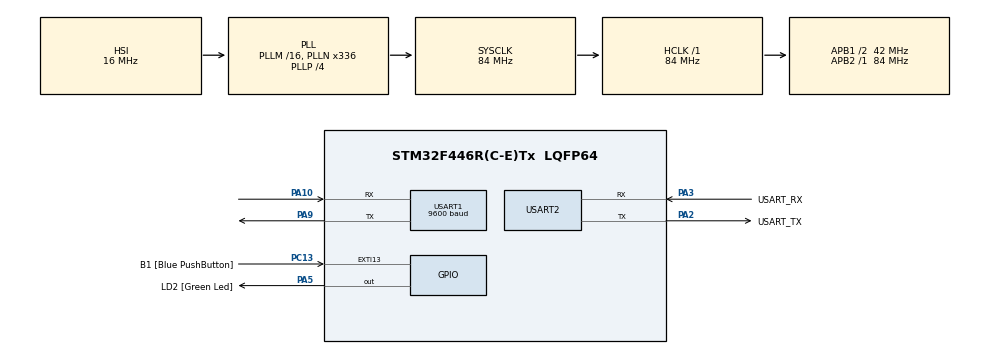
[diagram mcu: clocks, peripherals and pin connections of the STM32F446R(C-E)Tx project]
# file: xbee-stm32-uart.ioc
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Mcu.Family=STM32F4
Mcu.Name=STM32F446R(C-E)Tx
Mcu.Package=LQFP64
NVIC.PriorityGroup=NVIC_PRIORITYGROUP_0
PA10.Mode=Asynchronous
PA10.Signal=USART1_RX
PA13.GPIO_Label=TMS
PA13.Mode=Serial_Wire
PA13.Signal=SYS_JTMS-SWDIO
PA14.GPIO_Label=TCK
PA14.Mode=Serial_Wire
PA14.Signal=SYS_JTCK-SWCLK
PA2.GPIO_Label=USART_TX
PA2.Mode=Asynchronous
PA2.Signal=USART2_TX
PA3.GPIO_Label=USART_RX
PA3.Mode=Asynchronous
PA3.Signal=USART2_RX
PA5.GPIO_Label=LD2 [Green Led]
PA5.Signal=GPIO_Output
PA9.Mode=Asynchronous
PA9.Signal=USART1_TX
PB3.GPIO_Label=SWO
PB3.Signal=SYS_JTDO-SWO
PC13.GPIO_Label=B1 [Blue PushButton]
PC13.GPIO_ModeDefaultEXTI=GPIO_MODE_IT_FALLING
PC13.Signal=GPXTI13
PC14-OSC32_IN.Mode=LSE-External-Oscillator
PC14-OSC32_IN.Signal=RCC_OSC32_IN
PC15-OSC32_OUT.Mode=LSE-External-Oscillator
PC15-OSC32_OUT.Signal=RCC_OSC32_OUT
PH0-OSC_IN.Mode=HSE-External-Oscillator
PH0-OSC_IN.Signal=RCC_OSC_IN
PH1-OSC_OUT.Mode=HSE-External-Oscillator
PH1-OSC_OUT.Signal=RCC_OSC_OUT
ProjectManager.HeapSize=0x200
ProjectManager.StackSize=0x400
ProjectManager.TargetToolchain=STM32CubeIDE
RCC.48MHZClocksFreq_Value=84000000
RCC.AHBFreq_Value=84000000
RCC.APB1CLKDivider=RCC_HCLK_DIV2
RCC.APB1Freq_Value=42000000
RCC.APB1TimFreq_Value=84000000
RCC.APB2Freq_Value=84000000
RCC.APB2TimFreq_Value=84000000
RCC.CortexFreq_Value=84000000
RCC.FLatency-AdvancedSettings=FLASH_LATENCY_2
RCC.HCLKFreq_Value=84000000
RCC.HSE_VALUE=8000000
RCC.HSI_VALUE=16000000
RCC.PLLN=336
RCC.PLLP=RCC_PLLP_DIV4
RCC.SYSCLKFreq_VALUE=84000000
RCC.SYSCLKSource=RCC_SYSCLKSOURCE_PLLCLK
RCC.USBFreq_Value=168000000
RCC.VCOOutputFreq_Value=336000000
USART1.BaudRate=9600
USART1.VirtualMode=VM_ASYNC
USART2.VirtualMode=VM_ASYNC
board=NUCLEO-F446RE

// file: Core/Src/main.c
/* USER CODE BEGIN Header */
/**
  ******************************************************************************
  * @file           : main.c
  * @brief          : Main program body
  ******************************************************************************
  * @attention
  *
  * Copyright (c) 2023 STMicroelectronics.
  * All rights reserved.
  *
  * This software is licensed under terms that can be found in the LICENSE file
  * in the root directory of this software component.
  * If no LICENSE file comes with this software, it is provided AS-IS.
  *
  ******************************************************************************
  */
/* USER CODE END Header */
#include "main.h"

/* USER CODE BEGIN Includes */
#include "stdio.h"
#include "stdlib.h"
#include "string.h"
#include "stdint.h"

/* USER CODE END Includes */

UART_HandleTypeDef huart1;
UART_HandleTypeDef huart2;

void SystemClock_Config(void);
static void MX_GPIO_Init(void);
static void MX_USART2_UART_Init(void);
static void MX_USART1_UART_Init(void);

int main(void)
{

  /* MCU Configuration--------------------------------------------------------*/

  /* Reset of all peripherals, Initializes the Flash interface and the Systick. */
  HAL_Init();

  /* Configure the system clock */
  SystemClock_Config();

  /* Initialize all configured peripherals */
  MX_GPIO_Init();
  MX_USART2_UART_Init();
  MX_USART1_UART_Init();

  /* Infinite loop */
  while (1)
  {

    /* USER CODE BEGIN 3 */

	  for (int i = 0; i <= 10; i++) {
		  char out[20] = "Hello, FEB!";

		  char str[4];
		  sprintf(str, "%d", i);

		  strcat(out, str);
		  strcat(out, "\n");

		  char data[50] = "Hello, FEB!\n";
	//	  HAL_UART_Transmit(&huart1, data, sizeof(data), 10);
		  HAL_UART_Transmit(&huart1, (uint8_t *) out, sizeof(out), 100);
		  HAL_Delay(1000);
		  char send1[3] = "+++";
		  HAL_UART_Transmit(&huart1, (uint8_t *) send1, sizeof(send1), 100);
		  HAL_Delay(1000);
		  char send2[17] = "ATGT,CC,GT,CN<CR>";
		  HAL_UART_Transmit(&huart1, (uint8_t *) send2, sizeof(send2), 100);
		  HAL_Delay(1000);
	  }
  }
  /* USER CODE END 3 */
}

void SystemClock_Config(void)
{
  RCC_OscInitTypeDef RCC_OscInitStruct = {0};
  RCC_ClkInitTypeDef RCC_ClkInitStruct = {0};

  /** Configure the main internal regulator output voltage
  */
  __HAL_RCC_PWR_CLK_ENABLE();
  __HAL_PWR_VOLTAGESCALING_CONFIG(PWR_REGULATOR_VOLTAGE_SCALE3);

  /** Initializes the RCC Oscillators according to the specified parameters
  * in the RCC_OscInitTypeDef structure.
  */
  RCC_OscInitStruct.OscillatorType = RCC_OSCILLATORTYPE_HSI;
  RCC_OscInitStruct.HSIState = RCC_HSI_ON;
  RCC_OscInitStruct.HSICalibrationValue = RCC_HSICALIBRATION_DEFAULT;
  RCC_OscInitStruct.PLL.PLLState = RCC_PLL_ON;
  RCC_OscInitStruct.PLL.PLLSource = RCC_PLLSOURCE_HSI;
  RCC_OscInitStruct.PLL.PLLM = 16;
  RCC_OscInitStruct.PLL.PLLN = 336;
  RCC_OscInitStruct.PLL.PLLP = RCC_PLLP_DIV4;
  RCC_OscInitStruct.PLL.PLLQ = 2;
  RCC_OscInitStruct.PLL.PLLR = 2;
  if (HAL_RCC_OscConfig(&RCC_OscInitStruct) != HAL_OK)
  {
    Error_Handler();
  }

  /** Initializes the CPU, AHB and APB buses clocks
  */
  RCC_ClkInitStruct.ClockType = RCC_CLOCKTYPE_HCLK|RCC_CLOCKTYPE_SYSCLK
                              |RCC_CLOCKTYPE_PCLK1|RCC_CLOCKTYPE_PCLK2;
  RCC_ClkInitStruct.SYSCLKSource = RCC_SYSCLKSOURCE_PLLCLK;
  RCC_ClkInitStruct.AHBCLKDivider = RCC_SYSCLK_DIV1;
  RCC_ClkInitStruct.APB1CLKDivider = RCC_HCLK_DIV2;
  RCC_ClkInitStruct.APB2CLKDivider = RCC_HCLK_DIV1;

  if (HAL_RCC_ClockConfig(&RCC_ClkInitStruct, FLASH_LATENCY_2) != HAL_OK)
  {
    Error_Handler();
  }
}

static void MX_USART1_UART_Init(void)
{

  huart1.Instance = USART1;
  huart1.Init.BaudRate = 9600;
  huart1.Init.WordLength = UART_WORDLENGTH_8B;
  huart1.Init.StopBits = UART_STOPBITS_1;
  huart1.Init.Parity = UART_PARITY_NONE;
  huart1.Init.Mode = UART_MODE_TX_RX;
  huart1.Init.HwFlowCtl = UART_HWCONTROL_NONE;
  huart1.Init.OverSampling = UART_OVERSAMPLING_16;
  if (HAL_UART_Init(&huart1) != HAL_OK)
  {
    Error_Handler();
  }

}

static void MX_USART2_UART_Init(void)
{

  huart2.Instance = USART2;
  huart2.Init.BaudRate = 115200;
  huart2.Init.WordLength = UART_WORDLENGTH_8B;
  huart2.Init.StopBits = UART_STOPBITS_1;
  huart2.Init.Parity = UART_PARITY_NONE;
  huart2.Init.Mode = UART_MODE_TX_RX;
  huart2.Init.HwFlowCtl = UART_HWCONTROL_NONE;
  huart2.Init.OverSampling = UART_OVERSAMPLING_16;
  if (HAL_UART_Init(&huart2) != HAL_OK)
  {
    Error_Handler();
  }

}

static void MX_GPIO_Init(void)
{
  GPIO_InitTypeDef GPIO_InitStruct = {0};

  /* GPIO Ports Clock Enable */
  __HAL_RCC_GPIOC_CLK_ENABLE();
  __HAL_RCC_GPIOH_CLK_ENABLE();
  __HAL_RCC_GPIOA_CLK_ENABLE();
  __HAL_RCC_GPIOB_CLK_ENABLE();

  /*Configure GPIO pin Output Level */
  HAL_GPIO_WritePin(LD2_GPIO_Port, LD2_Pin, GPIO_PIN_RESET);

  /*Configure GPIO pin : B1_Pin */
  GPIO_InitStruct.Pin = B1_Pin;
  GPIO_InitStruct.Mode = GPIO_MODE_IT_FALLING;
  GPIO_InitStruct.Pull = GPIO_NOPULL;
  HAL_GPIO_Init(B1_GPIO_Port, &GPIO_InitStruct);

  /*Configure GPIO pin : LD2_Pin */
  GPIO_InitStruct.Pin = LD2_Pin;
  GPIO_InitStruct.Mode = GPIO_MODE_OUTPUT_PP;
  GPIO_InitStruct.Pull = GPIO_NOPULL;
  GPIO_InitStruct.Speed = GPIO_SPEED_FREQ_LOW;
  HAL_GPIO_Init(LD2_GPIO_Port, &GPIO_InitStruct);

}

void Error_Handler(void)
{
  __disable_irq();
  while (1)
  {
  }
}
